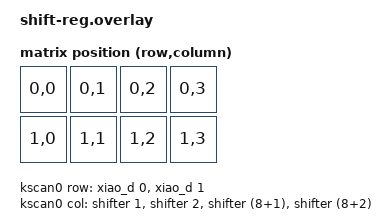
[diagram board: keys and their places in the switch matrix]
#include <dt-bindings/zmk/matrix_transform.h>
#include <physical_layouts.dtsi>

&xiao_serial { status = "disabled"; };

// shift-register
&pinctrl {
    spi2_default: spi2_default {
        group1 {
            psels = <NRF_PSEL(SPIM_SCK,  1, 13)>,   // SCLK (P1.13=XIAO:D8/SCK)
                    <NRF_PSEL(SPIM_MOSI, 1, 15)>,   // SDIO (P1.15=XIAO:D10/MOSI)
//                  <NRF_PSEL(SPIM_MISO, 1, 14)>;   // SDIO (P1.14=XIAO:D9/MISO by default)
                    <NRF_PSEL(SPIM_MISO, 0, 31)>;   // SDIO (P0.31=Not Connection in xiao nRF)
        };
    };

    spi2_sleep: spi2_sleep {
        group1 {
            psels = <NRF_PSEL(SPIM_SCK,  1, 13)>,   // SCLK (P1.13=XIAO:D8/SCK)
                    <NRF_PSEL(SPIM_MOSI, 1, 15)>,   // SDIO (P1.15=XIAO:D10/MOSI)
//                  <NRF_PSEL(SPIM_MISO, 1, 14)>;   // SDIO (P1.14=XIAO:D9/MISO by default)
                    <NRF_PSEL(SPIM_MISO, 0, 31)>;   // SDIO --> P0.31 (Not Connection at xiao nRF)
            low-power-enable;
        };
    };
};

// note: xiao_spi is alias to spi2 at zmk/zephyr/boards/arm/seeeduino_xiao_ble/seeed_xiao_connector.dts:29

&xiao_spi {
	status = "okay";
 // cs-gpios = <&xiao_d 7 GPIO_ACTIVE_LOW>;
	cs-gpios = <&xiao_d 9 GPIO_ACTIVE_LOW>;
	shifter: 595@0 {
		compatible = "zmk,gpio-595";
		status = "okay";
		gpio-controller;
		spi-max-frequency = <300000>;
		reg = <0>;
		#gpio-cells = <2>;
		ngpios = <16>;
	};
};

/ {
	chosen {
		zmk,physical-layout = &physical_layout;
	};

	physical_layout: physical_layout {
		compatible = "zmk,physical-layout";
		display-name = "Default Layout";
		kscan = <&kscan0>;
		transform = <&default_transform>;

		keys
        //                          w   h   x   y  rot rx ry
            = <&key_physical_attrs 100 100   0   0  0   0  0>
            , <&key_physical_attrs 100 100 100   0  0   0  0>
            , <&key_physical_attrs 100 100 200   0  0   0  0>
            , <&key_physical_attrs 100 100 300   0  0   0  0>
            , <&key_physical_attrs 100 100   0 100  0   0  0>
            , <&key_physical_attrs 100 100 100 100  0   0  0>
            , <&key_physical_attrs 100 100 200 100  0   0  0>
            , <&key_physical_attrs 100 100 300 100  0   0  0>
            ;
	};

	default_transform: keymap_transform0 {
		compatible = "zmk,matrix-transform";
		columns = <4>;
		rows = <2>;
		map = <
RC(0,0) RC(0,1) RC(0,2) RC(0,3)
RC(1,0) RC(1,1) RC(1,2) RC(1,3)
		>;
	};

	kscan0: kscan_0 {
		compatible = "zmk,kscan-gpio-matrix";
		diode-direction = "col2row";

		col-gpios
            = <&shifter 1 GPIO_ACTIVE_HIGH>         // col0: 1st 595 #1(QB) -> 1
            , <&shifter 2 GPIO_ACTIVE_HIGH>         // col1: 1st 595 #2(QC) -> 2
            , <&shifter (8+1) GPIO_ACTIVE_HIGH>     // col2: 2nd 595 #1(QB) -> 8+1=9
            , <&shifter (8+2) GPIO_ACTIVE_HIGH>     // col3: 2nd 595 #2(QC) -> 8+2=10
			;

		row-gpios
			= <&xiao_d 0 (GPIO_ACTIVE_HIGH | GPIO_PULL_DOWN)>
			, <&xiao_d 1 (GPIO_ACTIVE_HIGH | GPIO_PULL_DOWN)>
			;
	};

};
